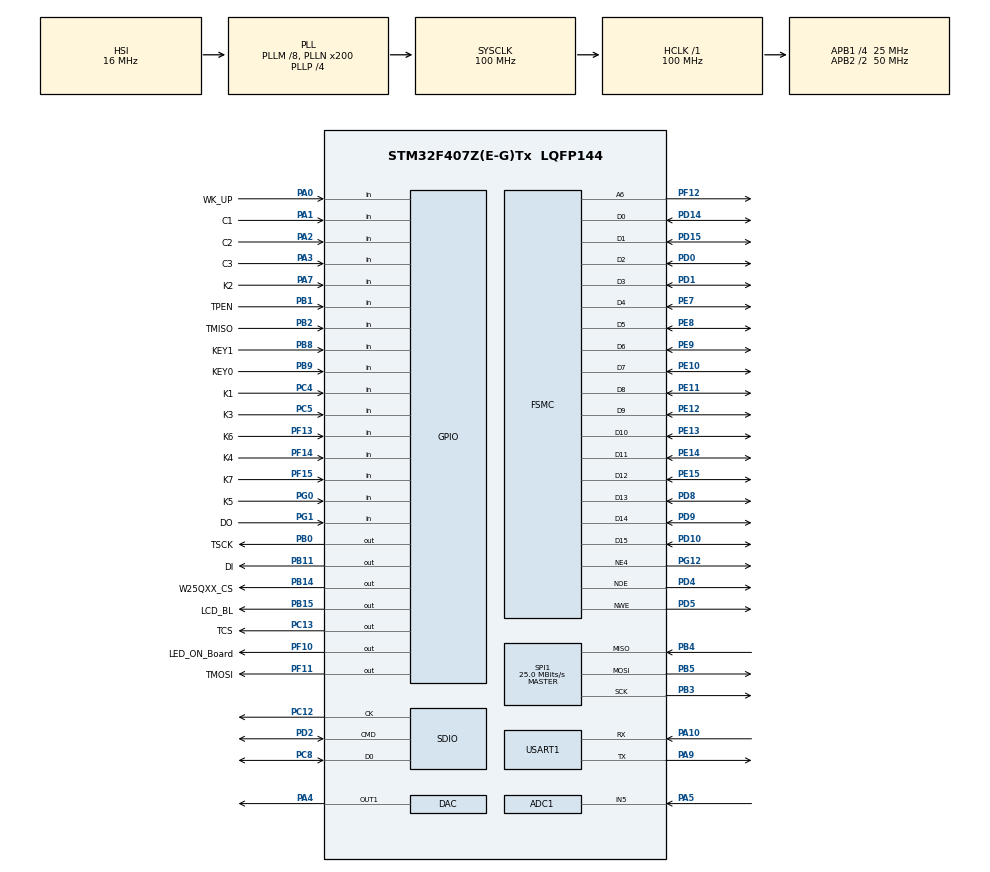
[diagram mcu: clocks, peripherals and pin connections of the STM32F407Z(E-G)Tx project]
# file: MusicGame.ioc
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ADC1.Channel-0\#ChannelRegularConversion=ADC_CHANNEL_5
ADC1.InjNumberOfConversion=0
ADC1.NbrOfConversionFlag=1
ADC1.Rank-0\#ChannelRegularConversion=1
ADC1.SamplingTime-0\#ChannelRegularConversion=ADC_SAMPLETIME_480CYCLES
ADC1.master=1
DAC.DAC_Trigger=DAC_TRIGGER_T2_TRGO
Dma.DAC1.0.Direction=DMA_MEMORY_TO_PERIPH
Dma.DAC1.0.FIFOMode=DMA_FIFOMODE_DISABLE
Dma.DAC1.0.Instance=DMA1_Stream5
Dma.DAC1.0.MemDataAlignment=DMA_MDATAALIGN_HALFWORD
Dma.DAC1.0.MemInc=DMA_MINC_ENABLE
Dma.DAC1.0.Mode=DMA_CIRCULAR
Dma.DAC1.0.PeriphDataAlignment=DMA_PDATAALIGN_HALFWORD
Dma.DAC1.0.PeriphInc=DMA_PINC_DISABLE
Dma.DAC1.0.Priority=DMA_PRIORITY_MEDIUM
Dma.MEMTOMEM.2.Direction=DMA_MEMORY_TO_MEMORY
Dma.MEMTOMEM.2.FIFOMode=DMA_FIFOMODE_ENABLE
Dma.MEMTOMEM.2.FIFOThreshold=DMA_FIFO_THRESHOLD_FULL
Dma.MEMTOMEM.2.Instance=DMA2_Stream6
Dma.MEMTOMEM.2.MemBurst=DMA_MBURST_SINGLE
Dma.MEMTOMEM.2.MemDataAlignment=DMA_MDATAALIGN_HALFWORD
Dma.MEMTOMEM.2.MemInc=DMA_MINC_DISABLE
Dma.MEMTOMEM.2.Mode=DMA_NORMAL
Dma.MEMTOMEM.2.PeriphBurst=DMA_PBURST_SINGLE
Dma.MEMTOMEM.2.PeriphDataAlignment=DMA_PDATAALIGN_HALFWORD
Dma.MEMTOMEM.2.PeriphInc=DMA_PINC_ENABLE
Dma.MEMTOMEM.2.Priority=DMA_PRIORITY_LOW
Dma.Request0=DAC1
Dma.Request1=SDIO
Dma.Request2=MEMTOMEM
Dma.SDIO.1.Direction=DMA_PERIPH_TO_MEMORY
Dma.SDIO.1.FIFOMode=DMA_FIFOMODE_ENABLE
Dma.SDIO.1.FIFOThreshold=DMA_FIFO_THRESHOLD_FULL
Dma.SDIO.1.Instance=DMA2_Stream3
Dma.SDIO.1.MemBurst=DMA_MBURST_INC4
Dma.SDIO.1.MemDataAlignment=DMA_MDATAALIGN_WORD
Dma.SDIO.1.MemInc=DMA_MINC_ENABLE
Dma.SDIO.1.Mode=DMA_PFCTRL
Dma.SDIO.1.PeriphBurst=DMA_PBURST_INC4
Dma.SDIO.1.PeriphDataAlignment=DMA_PDATAALIGN_WORD
Dma.SDIO.1.PeriphInc=DMA_PINC_DISABLE
Dma.SDIO.1.Priority=DMA_PRIORITY_LOW
FATFS._CODE_PAGE=437
FATFS._USE_LFN=2
FREERTOS.BinarySemaphores01=mutex_lvgl,Dynamic,NULL;Semaphore_mp3,Dynamic,NULL;Sem_MP3State,Dynamic,NULL;Sem_Disp,Dynamic,NULL
FREERTOS.Tasks01=defaultTask,0,128,StartDefaultTask,Default,NULL,Dynamic,NULL,NULL;myTask_LED,-3,128,StartTaskLED,Default,NULL,Dynamic,NULL,NULL;myTask_lvgl,-3,2048,StartTask_lvgl,Default,NULL,Dynamic,NULL,NULL;myTask_mp3,-3,512,StartTask_mp3,Default,NULL,Dynamic,NULL,NULL;start_task,-3,512,StartTask,Default,NULL,Dynamic,NULL,NULL
FREERTOS.configUSE_TICK_HOOK=1
FSMC.BusTurnAroundDuration1=0
FSMC.DataSetupTime1=24
FSMC.ExtendedAddressSetupTime1=8
FSMC.ExtendedBusTurnAroundDuration1=0
FSMC.ExtendedDataSetupTime1=8
FSMC.ExtendedMode1=FSMC_EXTENDED_MODE_ENABLE
Mcu.Family=STM32F4
Mcu.Name=STM32F407Z(E-G)Tx
Mcu.Package=LQFP144
NVIC.DMA1_Stream5_IRQn=true\:6\:0\:true\:false\:true\:false\:false\:true\:true
NVIC.DMA2_Stream3_IRQn=true\:6\:0\:true\:false\:true\:true\:false\:true\:true
NVIC.DMA2_Stream6_IRQn=true\:6\:0\:true\:false\:true\:false\:true\:true\:true
NVIC.PriorityGroup=NVIC_PRIORITYGROUP_4
NVIC.SDIO_IRQn=true\:5\:0\:true\:false\:true\:true\:true\:true\:true
NVIC.TIM6_DAC_IRQn=true\:15\:0\:false\:false\:true\:false\:false\:true\:true
NVIC.TimeBase=TIM6_DAC_IRQn
NVIC.TimeBaseIP=TIM6
PA0-WKUP.GPIO_Label=WK_UP
PA0-WKUP.GPIO_PuPd=GPIO_PULLDOWN
PA0-WKUP.Signal=GPIO_Input
PA1.GPIO_Label=C1
PA1.GPIO_PuPd=GPIO_PULLUP
PA1.Signal=GPIO_Input
PA10.Mode=Asynchronous
PA10.Signal=USART1_RX
PA13.Mode=Serial_Wire
PA13.Signal=SYS_JTMS-SWDIO
PA14.Mode=Serial_Wire
PA14.Signal=SYS_JTCK-SWCLK
PA2.GPIO_Label=C2
PA2.GPIO_PuPd=GPIO_PULLUP
PA2.Signal=GPIO_Input
PA3.GPIO_Label=C3
PA3.GPIO_PuPd=GPIO_PULLUP
PA3.Signal=GPIO_Input
PA4.Signal=COMP_DAC1_group
PA5.GPIO_PuPd=GPIO_NOPULL
PA5.Signal=ADCx_IN5
PA7.GPIO_Label=K2
PA7.GPIO_PuPd=GPIO_PULLUP
PA7.Signal=GPIO_Input
PA9.Mode=Asynchronous
PA9.Signal=USART1_TX
PB0.GPIO_Label=TSCK
PB0.GPIO_PuPd=GPIO_NOPULL
PB0.GPIO_Speed=GPIO_SPEED_FREQ_HIGH
PB0.Signal=GPIO_Output
PB1.GPIO_Label=TPEN
PB1.GPIO_PuPd=GPIO_PULLUP
PB1.Signal=GPIO_Input
PB11.GPIO_Label=DI
PB11.Signal=GPIO_Output
PB14.GPIO_Label=W25QXX_CS
PB14.GPIO_PuPd=GPIO_PULLUP
PB14.GPIO_Speed=GPIO_SPEED_FREQ_HIGH
PB14.PinState=GPIO_PIN_SET
PB14.Signal=GPIO_Output
PB15.GPIO_Label=LCD_BL
PB15.GPIO_PuPd=GPIO_PULLUP
PB15.GPIO_Speed=GPIO_SPEED_FREQ_VERY_HIGH
PB15.PinState=GPIO_PIN_SET
PB15.Signal=GPIO_Output
PB2.GPIO_Label=TMISO
PB2.GPIO_PuPd=GPIO_PULLUP
PB2.Signal=GPIO_Input
PB3.Mode=Full_Duplex_Master
PB3.Signal=SPI1_SCK
PB4.Mode=Full_Duplex_Master
PB4.Signal=SPI1_MISO
PB5.Mode=Full_Duplex_Master
PB5.Signal=SPI1_MOSI
PB8.GPIO_Label=KEY1
PB8.GPIO_PuPd=GPIO_PULLUP
PB8.Signal=GPIO_Input
PB9.GPIO_Label=KEY0
PB9.GPIO_PuPd=GPIO_PULLUP
PB9.Signal=GPIO_Input
PC10.GPIO_PuPd=GPIO_PULLUP
PC10.Signal=SDIO_D2
PC11.GPIO_PuPd=GPIO_PULLUP
PC11.Signal=SDIO_D3
PC12.GPIO_PuPd=GPIO_PULLUP
PC12.Mode=SD_1_bit
PC12.Signal=SDIO_CK
PC13-ANTI_TAMP.GPIO_Label=TCS
PC13-ANTI_TAMP.GPIO_Speed=GPIO_SPEED_FREQ_LOW
PC13-ANTI_TAMP.Signal=GPIO_Output
PC4.GPIO_Label=K1
PC4.GPIO_PuPd=GPIO_PULLUP
PC4.Signal=GPIO_Input
PC5.GPIO_Label=K3
PC5.GPIO_PuPd=GPIO_PULLUP
PC5.Signal=GPIO_Input
PC8.GPIO_PuPd=GPIO_PULLUP
PC8.Mode=SD_1_bit
PC8.Signal=SDIO_D0
PC9.GPIO_PuPd=GPIO_PULLUP
PC9.Signal=SDIO_D1
PD0.Signal=FSMC_D2_DA2
PD1.Signal=FSMC_D3_DA3
PD10.Signal=FSMC_D15_DA15
PD14.Signal=FSMC_D0_DA0
PD15.Signal=FSMC_D1_DA1
PD2.GPIO_PuPd=GPIO_PULLUP
PD2.Mode=SD_1_bit
PD2.Signal=SDIO_CMD
PD4.Signal=FSMC_NOE
PD5.Signal=FSMC_NWE
PD8.Signal=FSMC_D13_DA13
PD9.Signal=FSMC_D14_DA14
PE10.Signal=FSMC_D7_DA7
PE11.Signal=FSMC_D8_DA8
PE12.Signal=FSMC_D9_DA9
PE13.Signal=FSMC_D10_DA10
PE14.Signal=FSMC_D11_DA11
PE15.Signal=FSMC_D12_DA12
PE7.Signal=FSMC_D4_DA4
PE8.Signal=FSMC_D5_DA5
PE9.Signal=FSMC_D6_DA6
PF10.GPIO_Label=LED_ON_Board
PF10.PinState=GPIO_PIN_SET
PF10.Signal=GPIO_Output
PF11.GPIO_Label=TMOSI
PF11.GPIO_Speed=GPIO_SPEED_FREQ_HIGH
PF11.Signal=GPIO_Output
PF12.Signal=FSMC_A6
PF13.GPIO_Label=K6
PF13.GPIO_PuPd=GPIO_PULLUP
PF13.Signal=GPIO_Input
PF14.GPIO_Label=K4
PF14.GPIO_PuPd=GPIO_PULLUP
PF14.Signal=GPIO_Input
PF15.GPIO_Label=K7
PF15.GPIO_PuPd=GPIO_PULLUP
PF15.Signal=GPIO_Input
PG0.GPIO_Label=K5
PG0.GPIO_PuPd=GPIO_PULLUP
PG0.Signal=GPIO_Input
PG1.GPIO_Label=DO
PG1.Signal=GPIO_Input
PG12.Mode=NorPsramChipSelect4_1
PG12.Signal=FSMC_NE4
PH0-OSC_IN.Mode=HSE-External-Oscillator
PH0-OSC_IN.Signal=RCC_OSC_IN
PH1-OSC_OUT.Mode=HSE-External-Oscillator
PH1-OSC_OUT.Signal=RCC_OSC_OUT
ProjectManager.HeapSize=0x500
ProjectManager.StackSize=0x500
ProjectManager.TargetToolchain=MDK-ARM V5.27
RCC.48MHZClocksFreq_Value=44444444.44444445
RCC.AHBFreq_Value=100000000
RCC.APB1CLKDivider=RCC_HCLK_DIV4
RCC.APB1Freq_Value=25000000
RCC.APB1TimFreq_Value=50000000
RCC.APB2CLKDivider=RCC_HCLK_DIV2
RCC.APB2Freq_Value=50000000
RCC.APB2TimFreq_Value=100000000
RCC.CortexFreq_Value=100000000
RCC.HCLKFreq_Value=100000000
RCC.HSE_VALUE=8000000
RCC.HSI_VALUE=16000000
RCC.LSE_VALUE=32768
RCC.PLLM=8
RCC.PLLN=200
RCC.PLLP=RCC_PLLP_DIV4
RCC.PLLQ=9
RCC.SYSCLKFreq_VALUE=100000000
RCC.SYSCLKSource=RCC_SYSCLKSOURCE_PLLCLK
RCC.VCOOutputFreq_Value=400000000
SDIO.ClockDiv=0
SH.ADCx_IN5.0=ADC1_IN5,IN5
SH.COMP_DAC1_group.0=DAC_OUT1,DAC_OUT1
SH.FSMC_A6.0=FSMC_A6,A6_1
SH.FSMC_D0_DA0.0=FSMC_D0,16b-d1
SH.FSMC_D10_DA10.0=FSMC_D10,16b-d1
SH.FSMC_D11_DA11.0=FSMC_D11,16b-d1
SH.FSMC_D12_DA12.0=FSMC_D12,16b-d1
SH.FSMC_D13_DA13.0=FSMC_D13,16b-d1
SH.FSMC_D14_DA14.0=FSMC_D14,16b-d1
SH.FSMC_D15_DA15.0=FSMC_D15,16b-d1
SH.FSMC_D1_DA1.0=FSMC_D1,16b-d1
SH.FSMC_D2_DA2.0=FSMC_D2,16b-d1
SH.FSMC_D3_DA3.0=FSMC_D3,16b-d1
SH.FSMC_D4_DA4.0=FSMC_D4,16b-d1
SH.FSMC_D5_DA5.0=FSMC_D5,16b-d1
SH.FSMC_D6_DA6.0=FSMC_D6,16b-d1
SH.FSMC_D7_DA7.0=FSMC_D7,16b-d1
SH.FSMC_D8_DA8.0=FSMC_D8,16b-d1
SH.FSMC_D9_DA9.0=FSMC_D9,16b-d1
SH.FSMC_NOE.0=FSMC_NOE,Lcd1
SH.FSMC_NWE.0=FSMC_NWE,Lcd1
SPI1.BaudRatePrescaler=SPI_BAUDRATEPRESCALER_2
SPI1.CLKPhase=SPI_PHASE_2EDGE
SPI1.CLKPolarity=SPI_POLARITY_HIGH
SPI1.CRCCalculation=SPI_CRCCALCULATION_DISABLE
SPI1.CalculateBaudRate=25.0 MBits/s
SPI1.Direction=SPI_DIRECTION_2LINES
SPI1.Mode=SPI_MODE_MASTER
SPI1.VirtualType=VM_MASTER
TIM1.AutoReloadPreload=TIM_AUTORELOAD_PRELOAD_ENABLE
TIM1.Period=4999
TIM1.Prescaler=83
TIM2.AutoReloadPreload=TIM_AUTORELOAD_PRELOAD_ENABLE
TIM2.Period=49
TIM2.TIM_MasterOutputTrigger=TIM_TRGO_UPDATE
USART1.VirtualMode=VM_ASYNC
VP_FATFS_VS_SDIO.Mode=SDIO
VP_FREERTOS_VS_CMSIS_V1.Mode=CMSIS_V1
VP_SYS_VS_tim6.Mode=TIM6
VP_TIM1_VS_ClockSourceINT.Mode=Internal
VP_TIM2_VS_ClockSourceINT.Mode=Internal
board=custom

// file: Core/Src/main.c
/* USER CODE BEGIN Header */
/**
  ******************************************************************************
  * @file           : main.c
  * @brief          : Main program body
  ******************************************************************************
  * @attention
  *
  * Copyright (c) 2024 STMicroelectronics.
  * All rights reserved.
  *
  * This software is licensed under terms that can be found in the LICENSE file
  * in the root directory of this software component.
  * If no LICENSE file comes with this software, it is provided AS-IS.
  *
  ******************************************************************************
  */
/* USER CODE END Header */
#include "main.h"
#include "cmsis_os.h"
#include "adc.h"
#include "dac.h"
#include "dma.h"
#include "fatfs.h"
#include "sdio.h"
#include "spi.h"
#include "tim.h"
#include "usart.h"
#include "gpio.h"
#include "fsmc.h"

/* USER CODE BEGIN Includes */
#include "delay.h"
#include "lcd.h"
#include "w25qxx.h"
#include "touch.h"
#include "GBK_LibDrive.h"
#include "lv_port_disp.h"
#include "lvgl.h"
#include "lv_port_indev.h"
#include "lv_port_fs.h"
#include "stdio.h"
#include "ctype.h"
#include "string.h"
#include "key.h"
#include "mp3Player.h"
//#include "lv_demo_music.h"
/* USER CODE END Includes */

/* USER CODE BEGIN PD */
//sd
#define BLOCK_START_ADDR 0 /* Block start address */
#define NUM_OF_BLOCKS 1 /* Total number of blocks */
#define BUFFER_WORDS_SIZE ((BLOCKSIZE * NUM_OF_BLOCKS) >> 2) /* Total data size in bytes */
uint8_t Buffer_Tx[512],Buffer_Rx[512] = {
   0};
uint32_t i;
HAL_StatusTypeDef Return_Status;
//extern DMA_HandleTypeDef hdma_sdio;
//HAL_StatusTypeDef SDIO_ReadBlocks_DMA(SD_HandleTypeDef *hsd, uint8_t *pData, uint32_t BlockAdd, uint32_t NumberOfBlocks);
//HAL_StatusTypeDef SDIO_WriteBlocks_DMA(SD_HandleTypeDef *hsd, uint8_t *pData, uint32_t BlockAdd, uint32_t NumberOfBlocks);

//fs
FIL file;
UINT br,bw;
uint16_t rBuffer[20];      //将SD卡的数据，读入到缓存区
uint16_t WBuffer[20] ={1,2,3,4,5,6,7,8,9,10,11,12,13,14,15,16,17,18,19,20};

/* USER CODE END PD */

void SystemClock_Config(void);
void MX_FREERTOS_Init(void);

/* USER CODE BEGIN 0 */
//清空屏幕并在右上角显示"RST"
void Load_Drow_Dialog(void)
{
	GBK_LibFont_Test();//字库显示测试
//	LCD_Clear(WHITE);	//清屏
 	POINT_COLOR=RED;	//设置字体为蓝色
	LCD_ShowString(lcddev.width-24,0,200,16,16,RED,"RST");//显示清屏区域
  POINT_COLOR=RED;	//设置画笔蓝色

}

void rtp_test(void)
{
//	u8 key;
//	u8 i=0;
	while(1)
	{

	 	//key=KEY_Scan(0);

		tp_dev.scan(0);

		if(tp_dev.sta&TP_PRES_DOWN)			//触摸屏被按下
		{
		 	if(tp_dev.x[0]<lcddev.width&&tp_dev.y[0]<lcddev.height)
			{
				if(tp_dev.x[0]>(lcddev.width-24)&&tp_dev.y[0]<16)
					Load_Drow_Dialog();//清除
				else
					TP_Draw_Big_Point(tp_dev.x[0],tp_dev.y[0],RED);		//画图
			}
		}
		else delay_ms(10);	//没有按键按下的时候

//		if(key==KEY0_PRES)	//KEY0按下,则执行校准程序
//		{
//			LCD_Clear(WHITE);  //清屏
//		  TP_Adjust();  	   //屏幕校准
//			Load_Drow_Dialog();
//		}

//		i++;
//		if(i%20==0)
//		{
//		  LED1=!LED1;//LED灯闪，指示系统在运行
//		}

	}
}

void my_tptest(){
		LCD_ShowString(16,20,200,16,16,RED,"mcudev STM32F4");
	LCD_ShowString(16,40,200,16,16,RED,"TOUCH TEST");
	LCD_ShowString(16,60,200,16,16,RED,"mcudev.taobao.com");
	LCD_ShowString(16,80,200,16,16,RED,"2019/1/15");

//	LCD_ShowString(30,100,200,16,16,RED,"Press KEY0 to Adjust");

  //使用有字库屏幕，可以进行下面显示

	GBK_Show_Str(16,120,240,32,"字库测试-32",32,BLUE,WHITE,0);
	GBK_Show_Str(16,160,240,24,"2.8/3.2寸液晶屏-24",24,BLUE,WHITE,0);
	GBK_Show_Str(16,190,240,16,"设计：大越电子-16",16,BLUE,WHITE,0);
	GBK_Show_Str(16,210,240,12,"From: mcudev.taobao.com-12",12,BLUE,WHITE,0);

	LCD_ShowString(16,230,240,16,16,RED,"Press KEY0 to Adjust");//电阻屏才显示

	delay_ms(1500);
 	Load_Drow_Dialog();

	rtp_test(); 					//电阻屏测试
}

void SD_test(void){
	printf("Micro SD Card Test...\r\n");
		/* 棿测SD卡是否正常（处于数据传输模式的传输状态） */
		if(HAL_SD_GetCardState(&hsd) == HAL_SD_CARD_TRANSFER)
		{

		printf("Initialize SD card successfully!\r\n");
		// 打印SD卡基本信恿
		printf(" SD card information! \r\n");
		printf(" CardCapacity : %llu \r\n", (unsigned long long)hsd.SdCard.BlockSize * hsd.SdCard.BlockNbr);// 显示容量
		printf(" CardBlockSize : %d \r\n", hsd.SdCard.BlockSize);   // 块大尿
		printf(" LogBlockNbr : %d \r\n", hsd.SdCard.LogBlockNbr);	// 逻辑块数釿
		printf(" LogBlockSize : %d \r\n", hsd.SdCard.LogBlockSize);// 逻辑块大尿
		printf(" RCA : %d \r\n", hsd.SdCard.RelCardAdd);  // 卡相对地坿
		printf(" CardType : %d \r\n", hsd.SdCard.CardType);    // 卡类垿
		// 读取并打印SD卡的CID信息
		HAL_SD_CardCIDTypeDef sdcard_cid;
		HAL_SD_GetCardCID(&hsd,&sdcard_cid);
		printf(" ManufacturerID: %d \r\n",sdcard_cid.ManufacturerID);
		}
		else
		{

		printf("SD card init fail!\r\n" );
		}
#if 0
		/* 擦除SD卡块 */
		printf("------------------- Block Erase -------------------------------\r\n");
		if(HAL_SD_Erase(&hsd, BLOCK_START_ADDR, NUM_OF_BLOCKS) == HAL_OK)
		{

		/* Wait until SD cards are ready to use for new operation */
		while(HAL_SD_GetCardState(&hsd) != HAL_SD_CARD_TRANSFER)
		{

		}
		printf("\r\nErase Block Success!\r\n");
		}
		else
		{

		printf("\r\nErase Block Failed!\r\n");
		}
#endif
#if 0
		/* 填充缓冲区数捿 */
		memset(Buffer_Tx, 0x22, sizeof(Buffer_Tx));
		/* 向SD卡块写入数据 */
		printf("------------------- Write SD card block data Test ------------------\r\n");
		SDIO_WriteBlocks_DMA(&hsd,Buffer_Tx, BLOCK_START_ADDR, NUM_OF_BLOCKS);
		printf("write status :%d\r\n",Return_Status);
		/* 读取SD卡块数据 */
		Return_Status=SDIO_ReadBlocks_DMA(&hsd,Buffer_Rx, BLOCK_START_ADDR, NUM_OF_BLOCKS);
		printf("read status :%d\r\n",Return_Status);
		for(i = 0; i < sizeof(Buffer_Rx); i++)
		{

		printf("0x%02x:%02x ", i, Buffer_Rx[i]);
		}
#endif
}

void fs_test(void){
	#if 1  //挂载系统
  retSD = f_mount(&SDFatFS,"0:",1);
	switch(retSD)
	{
		case FR_NO_FILESYSTEM :   //如果没有文件系统，则进行格式化
		{
			retSD = f_mkfs("0:",0,0,rBuffer,sizeof(rBuffer));
			if(retSD != FR_OK )   //如果格式化不成功，报错
			{
				printf("mkfs error %d\r\n",retSD);
			}
		}
		break;
		case FR_OK :
		{
			printf("mount successful\r\n");
#if 1 //创建文件并写数据
			retSD = f_open(&file,"0:State.txt",FA_CREATE_ALWAYS | FA_WRITE);  //判断创建或打开文件是否成功
			if(retSD == FR_OK)
			{
				printf("open successful\r\n");
				//retSD = f_write(&file,(const void *)State,sizeof(WBuffer),&bw);
				retSD = f_write(&file,(uint8_t *)WBuffer,sizeof(WBuffer),&bw);
				if(retSD == FR_OK)  //判断写入数据是否成功
				{
					printf("write successful\r\n");
					f_close(&file);   //关闭文件
				}
				else
				{
					printf("write error %d\r\n",retSD);
				}
			}
			else
			{
				printf("open error %d\r\n",retSD);
			}
#endif
		}
		break;
		default :
			printf("other error %d\r\n",retSD);
		break;
	}
#if 0   //移位读取SD卡数据
	retSD = f_open(&file,"0:Temperature_Probe_1.txt",FA_OPEN_EXISTING | FA_READ);
	if(retSD == FR_OK)
	{
		printf("open successful\r\n");
		retSD =  f_lseek(&file,f_tell(&file)+ 4); //这个函数用于移位，f_tell函数是获取文件首地址的函数
		if(retSD == FR_OK)
		{
			retSD = f_read(&file,(void *)rBuffer,6,&br);
			if(retSD == FR_OK)  //判断读取文件操作是否成功
			{
				printf("read successful\r\n");
				uint8_t j = 0;
				for(uint16_t i = 0;i < 2000;i++)  //次for循环用于将读到的数据打印到电脑
				{
					j++;
					printf("%d ",rBuffer[i]);
					if(j == 10)
					{
						printf("\r\n");
						j = 0;
					}
				}
				f_close(&file);
			}
		}
		else
		{
			printf("open error %d\r\n",retSD);
		}
	}
#endif
#if 1  //读取SD卡中数据
	retSD = f_open(&file,"0:State.txt",FA_OPEN_EXISTING | FA_READ);
	if(retSD == FR_OK)
	{
		printf("open successful\r\n");
		retSD = f_read(&file,(uint8_t *)rBuffer,sizeof(rBuffer),&br);
		if(retSD == FR_OK)
		{
			printf("read successful\r\n");
			uint8_t j = 0;
			for(uint16_t i = 0;i < 20;i++)
			{
				j++;
				printf("%d ",rBuffer[i]);
				if(j == 10)
				{
					printf("\r\n");
					j = 0;
				}
			}
			f_close(&file);
		}
		else
		{
			printf("read error %d\r\n",retSD);
		}
	}
	else
	{
		printf("open error %d\r\n",retSD);
	}
#endif
#endif

}

void W25QXX_test(void){
	POINT_COLOR=RED;

	while(W25QXX_ReadID()!=W25Q16)								//检测不到W25QXX
	{
		LCD_ShowString(30,150,200,16,16,RED,"W25Q16 Check Failed!");
		delay_ms(500);
		LCD_ShowString(30,150,200,16,16,RED,"Please Check!      ");
		delay_ms(500);
		HAL_GPIO_TogglePin(LED_ON_Board_GPIO_Port,LED_ON_Board_Pin);
	}
	LCD_ShowString(30,150,200,16,16,RED,"W25Q16 Ready!");
}

static lv_obj_t * label;

static void slider_event_cb(lv_event_t * e)
{
    lv_obj_t * slider = lv_event_get_target(e);

    /*Refresh the text*/
    lv_label_set_text_fmt(label, "%"LV_PRId32, lv_slider_get_value(slider));
    lv_obj_align_to(label, slider, LV_ALIGN_OUT_TOP_MID, 0, -15);    /*Align top of the slider*/
}

/**
 * Create a slider and write its value on a label.
 */
void lv_example_get_started_1(void)
{
    /*Create a slider in the center of the display*/
    lv_obj_t * slider = lv_slider_create(lv_screen_active());
    lv_obj_set_width(slider, 200);                          /*Set the width*/
    lv_obj_center(slider);                                  /*Align to the center of the parent (screen)*/
    lv_obj_add_event_cb(slider, slider_event_cb, LV_EVENT_VALUE_CHANGED, NULL);     /*Assign an event function*/

    /*Create a label above the slider*/
    label = lv_label_create(lv_screen_active());
    lv_label_set_text(label, "0");
    lv_obj_align_to(label, slider, LV_ALIGN_OUT_TOP_MID, 0, -15);    /*Align top of the slider*/

}

void adda_test(void){
	u16 adcx;
	float temp;
 	u8 t=0;
	u16 dacval=0;
	u8 key;

	while(1)
	{
		t++;
		key=KEY_Scan(0);
		if(key==WKUP_PRES)
		{
			if(dacval<4000)dacval+=200;
			HAL_DAC_SetValue(&hdac,DAC_CHANNEL_1,DAC_ALIGN_12B_R,dacval);//设置DAC值
		}else if(key==2)
		{
			if(dacval>200)dacval-=200;
			else dacval=0;
			HAL_DAC_SetValue(&hdac,DAC_CHANNEL_1,DAC_ALIGN_12B_R,dacval);//设置DAC值
		}
		if(t==10||key==KEY1_PRES||key==WKUP_PRES) 	//WKUP/KEY1按下了,或者定时时间到了
		{
			adcx = HAL_DAC_GetValue(&hdac,DAC_CHANNEL_1);
			LCD_ShowxNum(94,150,adcx,4,16,BLUE,0);     	   //显示DAC寄存器值
			temp=(float)adcx*(3.3/4096);			         //得到DAC电压值
			adcx=temp;
 			LCD_ShowxNum(94,170,temp,1,16,BLUE,0);     	   //显示电压值整数部分
 			temp-=adcx;
			temp*=1000;
			LCD_ShowxNum(110,170,temp,3,16,BLUE,0X80); 	   //显示电压值的小数部分
 			adcx=Get_Adc_Average(10);		//得到ADC转换值
			temp=(float)adcx*(3.3/4096);			        //得到ADC电压值
			adcx=temp;
 			LCD_ShowxNum(94,190,temp,1,16,BLUE,0);     	  //显示电压值整数部分
 			temp-=adcx;
			temp*=1000;
			LCD_ShowxNum(110,190,temp,3,16,BLUE,0X80); 	  //显示电压值的小数部分
			//LED1=!LED1;
			t=0;
		}
		delay_ms(10);
	}
}

void dac_test_dma(void){
	u16 adcx;
	float temp;
 	u8 t=0;
	volatile u32 dacval=1;
	u8 key;
	bool buf_len=0;
	DAC_DMA_Start(1,210);
	while(1){
		t++;
		key=KEY_Scan(0);
		if(key==WKUP_PRES)
		{
			dacval+=1;
			DAC_DMA_Start(dacval,210);
		}else if(key==2)
		{
			if(dacval>1)dacval-=1;
			else dacval=1;
			DAC_DMA_Start(dacval,210);
		}
		else if(key==1)
		{
			if (buf_len==0){
				DAC_DMA_Start(dacval,20);
				buf_len=1;
			}else {
				DAC_DMA_Start(dacval,210);
				buf_len=0;
			}
		}
		if(t==10||key==KEY1_PRES||key==WKUP_PRES||KEY0_PRES) 	//WKUP/KEY1按下了,或者定时时间到了
		{
				adcx = HAL_DAC_GetValue(&hdac,DAC_CHANNEL_1);
				LCD_ShowxNum(94,150,adcx,4,16,BLUE,0);     	   //显示DAC寄存器值
				temp=(float)adcx*(3.3/4096);			         //得到DAC电压值
				adcx=temp;
				LCD_ShowxNum(94,170,temp,1,16,BLUE,0);     	   //显示电压值整数部分
				temp-=adcx;
				temp*=1000;
				LCD_ShowxNum(110,170,temp,3,16,BLUE,0X80); 	   //显示电压值的小数部分
				adcx=Get_Adc_Average(10);		//得到ADC转换值
				temp=(float)adcx*(3.3/4096);			        //得到ADC电压值
				adcx=temp;
				LCD_ShowxNum(94,190,temp,1,16,BLUE,0);     	  //显示电压值整数部分
				temp-=adcx;
				temp*=1000;
				LCD_ShowxNum(110,190,temp,3,16,BLUE,0X80); 	  //显示电压值的小数部分
		}
	}
}

FILINFO fileinfo;	//文件信息
DIR dir;  			//目录
//遍历目录文件并打印输出
u8 scan_files(u8 * path)
{
	FRESULT res;
	char buf[512] = {0};
  char *fn;

#if _USE_LFN
 	fileinfo.fsize = _MAX_LFN * 2 + 1;
	//fileinfo.fname = buf;
#endif

	res = f_opendir(&dir,(const TCHAR*)path);
	if (res == FR_OK)
	{
		printf("\r\n");

		while(1){

			res = f_readdir(&dir, &fileinfo);
			if (res != FR_OK || fileinfo.fname[0] == 0) break;

#if _USE_LFN
			//fn = *fileinfo.lfname ? fileinfo.lfname : fileinfo.fname;
#else
			fn = fileinfo.fname;
#endif

			printf("%s/", path);
			printf("%s\r\n", fileinfo.fname);
		}
  }

  return res;
}

//test debug
static lv_obj_t * list1;
static lv_obj_t * list2;

static lv_obj_t * currentButton = NULL;

static void event_handler(lv_event_t * e)
{
    lv_event_code_t code = lv_event_get_code(e);
    lv_obj_t * obj = lv_event_get_target(e);
    if(code == LV_EVENT_CLICKED) {
        LV_LOG_USER("Clicked: %s", lv_list_get_button_text(list1, obj));

        if(currentButton == obj) {
            currentButton = NULL;
        }
        else {
            currentButton = obj;
        }
        lv_obj_t * parent = lv_obj_get_parent(obj);
        uint32_t i;
        for(i = 0; i < lv_obj_get_child_count(parent); i++) {
            lv_obj_t * child = lv_obj_get_child(parent, i);
            if(child == currentButton) {
                lv_obj_add_state(child, LV_STATE_CHECKED);
            }
            else {
                lv_obj_remove_state(child, LV_STATE_CHECKED);
            }
        }
    }
}

static void event_handler_top(lv_event_t * e)
{
    lv_event_code_t code = lv_event_get_code(e);
    if(code == LV_EVENT_CLICKED) {
        if(currentButton == NULL) return;
        lv_obj_move_background(currentButton);
        lv_obj_scroll_to_view(currentButton, LV_ANIM_ON);
    }
}

static void event_handler_up(lv_event_t * e)
{
    lv_event_code_t code = lv_event_get_code(e);
    if((code == LV_EVENT_CLICKED) || (code == LV_EVENT_LONG_PRESSED_REPEAT)) {
        if(currentButton == NULL) return;
        uint32_t index = lv_obj_get_index(currentButton);
        if(index <= 0) return;
        lv_obj_move_to_index(currentButton, index - 1);
        lv_obj_scroll_to_view(currentButton, LV_ANIM_ON);
    }
}

static void event_handler_center(lv_event_t * e)
{
    const lv_event_code_t code = lv_event_get_code(e);
    if((code == LV_EVENT_CLICKED) || (code == LV_EVENT_LONG_PRESSED_REPEAT)) {
        if(currentButton == NULL) return;

        lv_obj_t * parent = lv_obj_get_parent(currentButton);
        const uint32_t pos = lv_obj_get_child_count(parent) / 2;

        lv_obj_move_to_index(currentButton, pos);

        lv_obj_scroll_to_view(currentButton, LV_ANIM_ON);
    }
}

static void event_handler_dn(lv_event_t * e)
{
    const lv_event_code_t code = lv_event_get_code(e);
    if((code == LV_EVENT_CLICKED) || (code == LV_EVENT_LONG_PRESSED_REPEAT)) {
        if(currentButton == NULL) return;
        const uint32_t index = lv_obj_get_index(currentButton);

        lv_obj_move_to_index(currentButton, index + 1);
        lv_obj_scroll_to_view(currentButton, LV_ANIM_ON);
    }
}

static void event_handler_bottom(lv_event_t * e)
{
    const lv_event_code_t code = lv_event_get_code(e);
    if(code == LV_EVENT_CLICKED) {
        if(currentButton == NULL) return;
        lv_obj_move_foreground(currentButton);
        lv_obj_scroll_to_view(currentButton, LV_ANIM_ON);
    }
}

static void event_handler_swap(lv_event_t * e)
{
    const lv_event_code_t code = lv_event_get_code(e);
    // lv_obj_t* obj = lv_event_get_target(e);
    if((code == LV_EVENT_CLICKED) || (code == LV_EVENT_LONG_PRESSED_REPEAT)) {
        uint32_t cnt = lv_obj_get_child_count(list1);
        for(int i = 0; i < 100; i++)
            if(cnt > 1) {
                lv_obj_t * obj = lv_obj_get_child(list1, lv_rand(0, cnt));
                lv_obj_move_to_index(obj, lv_rand(0, cnt));
                if(currentButton != NULL) {
                    lv_obj_scroll_to_view(currentButton, LV_ANIM_ON);
                }
            }
    }
}

void lv_example_list_2(void)
{
    /*Create a list*/
    list1 = lv_list_create(lv_screen_active());
    lv_obj_set_size(list1, lv_pct(60), lv_pct(100));
    lv_obj_set_style_pad_row(list1, 5, 0);

    /*Add buttons to the list*/
    lv_obj_t * btn;
    int i;
    for(i = 0; i < 15; i++) {
        btn = lv_button_create(list1);
        lv_obj_set_width(btn, lv_pct(50));
        lv_obj_add_event_cb(btn, event_handler, LV_EVENT_CLICKED, NULL);

        lv_obj_t * lab = lv_label_create(btn);
        lv_label_set_text_fmt(lab, "Item %d", i);
    }

    /*Select the first button by default*/
    currentButton = lv_obj_get_child(list1, 0);
    lv_obj_add_state(currentButton, LV_STATE_CHECKED);

    /*Create a second list with up and down buttons*/
    list2 = lv_list_create(lv_screen_active());
    lv_obj_set_size(list2, lv_pct(40), lv_pct(100));
    lv_obj_align(list2, LV_ALIGN_TOP_RIGHT, 0, 0);
    lv_obj_set_flex_flow(list2, LV_FLEX_FLOW_COLUMN);

    btn = lv_list_add_button(list2, NULL, "Top");
    lv_obj_add_event_cb(btn, event_handler_top, LV_EVENT_ALL, NULL);
    lv_group_remove_obj(btn);

    btn = lv_list_add_button(list2, LV_SYMBOL_UP, "Up");
    lv_obj_add_event_cb(btn, event_handler_up, LV_EVENT_ALL, NULL);
    lv_group_remove_obj(btn);

    btn = lv_list_add_button(list2, LV_SYMBOL_LEFT, "Center");
    lv_obj_add_event_cb(btn, event_handler_center, LV_EVENT_ALL, NULL);
    lv_group_remove_obj(btn);

    btn = lv_list_add_button(list2, LV_SYMBOL_DOWN, "Down");
    lv_obj_add_event_cb(btn, event_handler_dn, LV_EVENT_ALL, NULL);
    lv_group_remove_obj(btn);

    btn = lv_list_add_button(list2, NULL, "Bottom");
    lv_obj_add_event_cb(btn, event_handler_bottom, LV_EVENT_ALL, NULL);
    lv_group_remove_obj(btn);

    btn = lv_list_add_button(list2, LV_SYMBOL_SHUFFLE, "Shuffle");
    lv_obj_add_event_cb(btn, event_handler_swap, LV_EVENT_ALL, NULL);
    lv_group_remove_obj(btn);
}

void game_UI(void);
void lv_music_UI(void);
void game(void);
/* USER CODE END 0 */

int main(void)
{

  /* MCU Configuration--------------------------------------------------------*/

  /* Reset of all peripherals, Initializes the Flash interface and the Systick. */
  HAL_Init();

  /* Configure the system clock */
  SystemClock_Config();

  /* Initialize all configured peripherals */
  MX_GPIO_Init();
  MX_DMA_Init();
  MX_USART1_UART_Init();
  MX_FSMC_Init();
  MX_SPI1_Init();
  MX_TIM1_Init();
  MX_SDIO_SD_Init();
  MX_FATFS_Init();
  MX_ADC1_Init();
  MX_DAC_Init();
  MX_TIM2_Init();
  /* USER CODE BEGIN 2 */

//	SD_test();
//	fs_test();
	delay_init();
	LCD_Init();
	W25QXX_Init();			//W25QXX初始化
	W25QXX_test();

	// GBK_Lib_Init();       //硬件GBK字库初始化--(如果使用不带字库的液晶屏版本，此处可以屏蔽，不做字库初始化）

	tp_dev.init();				//触摸屏初始化

	LCD_Clear(WHITE);//清除屏幕

	//rtp_test();

	//lvgl
	//HAL_TIM_Base_Start_IT(&htim1);
	lv_init();
	lv_port_disp_init();
	lv_port_indev_init();
	 //lv_example_get_started_1();
    //   my_piano();
    // lv_example_list_2();
	 // game();

	HAL_TIM_Base_Start(&htim2);

////	//MP3
	//scan_files("0:");
//

	//dac_test_dma();
//	while (1)
//	{
		//mp3PlayerDemo("0:/断桥残雪.MP3");
//		//mp3PlayerDemo("0:/张国荣-玻璃之情.MP3");
//	}

  /* USER CODE END 2 */

  /* Call init function for freertos objects (in cmsis_os2.c) */
  MX_FREERTOS_Init();

  /* Start scheduler */
  osKernelStart();

  /* We should never get here as control is now taken by the scheduler */

  /* Infinite loop */
  while (1)
  {

    /* USER CODE BEGIN 3 */

//		delay_ms(1000);
//
//		HAL_GPIO_TogglePin(LED_ON_Board_GPIO_Port,LED_ON_Board_Pin);

		lv_timer_handler();
    HAL_Delay(1);
		//HAL_GPIO_TogglePin(LED_ON_Board_GPIO_Port,LED_ON_Board_Pin);
  }
  /* USER CODE END 3 */
}

void SystemClock_Config(void)
{
  RCC_OscInitTypeDef RCC_OscInitStruct = {0};
  RCC_ClkInitTypeDef RCC_ClkInitStruct = {0};

  /** Configure the main internal regulator output voltage
  */
  __HAL_RCC_PWR_CLK_ENABLE();
  __HAL_PWR_VOLTAGESCALING_CONFIG(PWR_REGULATOR_VOLTAGE_SCALE1);

  /** Initializes the RCC Oscillators according to the specified parameters
  * in the RCC_OscInitTypeDef structure.
  */
  RCC_OscInitStruct.OscillatorType = RCC_OSCILLATORTYPE_HSI;
  RCC_OscInitStruct.HSIState = RCC_HSI_ON;
  RCC_OscInitStruct.HSICalibrationValue = RCC_HSICALIBRATION_DEFAULT;
  RCC_OscInitStruct.PLL.PLLState = RCC_PLL_ON;
  RCC_OscInitStruct.PLL.PLLSource = RCC_PLLSOURCE_HSI;
  RCC_OscInitStruct.PLL.PLLM = 8;
  RCC_OscInitStruct.PLL.PLLN = 200;
  RCC_OscInitStruct.PLL.PLLP = RCC_PLLP_DIV4;
  RCC_OscInitStruct.PLL.PLLQ = 9;
  if (HAL_RCC_OscConfig(&RCC_OscInitStruct) != HAL_OK)
  {
    Error_Handler();
  }

  /** Initializes the CPU, AHB and APB buses clocks
  */
  RCC_ClkInitStruct.ClockType = RCC_CLOCKTYPE_HCLK|RCC_CLOCKTYPE_SYSCLK
                              |RCC_CLOCKTYPE_PCLK1|RCC_CLOCKTYPE_PCLK2;
  RCC_ClkInitStruct.SYSCLKSource = RCC_SYSCLKSOURCE_PLLCLK;
  RCC_ClkInitStruct.AHBCLKDivider = RCC_SYSCLK_DIV1;
  RCC_ClkInitStruct.APB1CLKDivider = RCC_HCLK_DIV4;
  RCC_ClkInitStruct.APB2CLKDivider = RCC_HCLK_DIV2;

  if (HAL_RCC_ClockConfig(&RCC_ClkInitStruct, FLASH_LATENCY_3) != HAL_OK)
  {
    Error_Handler();
  }
}

/* USER CODE BEGIN 4 */

//HAL_StatusTypeDef SDIO_ReadBlocks_DMA(SD_HandleTypeDef *hsd, uint8_t *pData, uint32_t BlockAdd, uint32_t NumberOfBlocks)
//{

//HAL_StatusTypeDef Return_Status;
//HAL_SD_CardStateTypeDef SD_Card_Status;
//do
//{

//SD_Card_Status = HAL_SD_GetCardState(hsd);
//}while(SD_Card_Status != HAL_SD_CARD_TRANSFER );
///* SDIO DMA DeInit */
///* SDIO DeInit */
//HAL_DMA_DeInit(&hdma_sdio);
///* SDIO DMA Init */
///* SDIO Init */
//hdma_sdio.Instance = DMA2_Stream3;
//hdma_sdio.Init.Direction = DMA_PERIPH_TO_MEMORY;
//hdma_sdio.Init.PeriphInc = DMA_PINC_DISABLE;
//hdma_sdio.Init.MemInc = DMA_MINC_ENABLE;
//hdma_sdio.Init.PeriphDataAlignment = DMA_PDATAALIGN_WORD;
//hdma_sdio.Init.MemDataAlignment = DMA_MDATAALIGN_WORD;
//hdma_sdio.Init.Mode = DMA_NORMAL;
//hdma_sdio.Init.Priority = DMA_PRIORITY_LOW;
//if (HAL_DMA_Init(&hdma_sdio) != HAL_OK)
//{

//Error_Handler();
//}
//__HAL_LINKDMA( hsd,hdmarx,hdma_sdio);
//Return_Status = HAL_SD_ReadBlocks_DMA( hsd,pData, BlockAdd, NumberOfBlocks);
//return Return_Status;
//}

//HAL_StatusTypeDef SDIO_WriteBlocks_DMA(SD_HandleTypeDef *hsd, uint8_t *pData, uint32_t BlockAdd, uint32_t NumberOfBlocks)
//{

//HAL_StatusTypeDef Return_Status;
//HAL_SD_CardStateTypeDef SD_Card_Status;
//do
//{

//SD_Card_Status = HAL_SD_GetCardState(hsd);
//}while(SD_Card_Status != HAL_SD_CARD_TRANSFER );
///* SDIO DMA DeInit */
///* SDIO DeInit */
//HAL_DMA_DeInit(&hdma_sdio);
///* SDIO DMA Init */
///* SDIO Init */
//hdma_sdio.Instance = DMA2_Stream3;
//hdma_sdio.Init.Direction = DMA_MEMORY_TO_PERIPH;
//hdma_sdio.Init.PeriphInc = DMA_PINC_DISABLE;
//hdma_sdio.Init.MemInc = DMA_MINC_ENABLE;
//hdma_sdio.Init.PeriphDataAlignment = DMA_PDATAALIGN_WORD;
//hdma_sdio.Init.MemDataAlignment = DMA_MDATAALIGN_WORD;
//hdma_sdio.Init.Mode = DMA_NORMAL;
//hdma_sdio.Init.Priority = DMA_PRIORITY_LOW;
//if (HAL_DMA_Init(&hdma_sdio) != HAL_OK)
//{

//Error_Handler();
//}
//__HAL_LINKDMA(hsd,hdmatx,hdma_sdio);
//Return_Status = HAL_SD_WriteBlocks_DMA(hsd,pData, BlockAdd, NumberOfBlocks);
//return Return_Status;
//}

//5ms
//void HAL_TIM_PeriodElapsedCallback(TIM_HandleTypeDef *htim){
//
//}

int fputc(int ch, FILE *f)
{

HAL_UART_Transmit(&huart1, (uint8_t *)&ch, 1, 0xffff);
return ch;
}
/** * @brief 重定向c库函数getchar,scanf到USARTx * @retval None */
int fgetc(FILE *f)
{

uint8_t ch = 0;
HAL_UART_Receive(&huart1, &ch, 1, 0xffff);
return ch;
}

/* USER CODE END 4 */

void HAL_TIM_PeriodElapsedCallback(TIM_HandleTypeDef *htim)
{
  if (htim->Instance == TIM6) {
    HAL_IncTick();
  }
  /* USER CODE BEGIN Callback 1 */
//	else if(htim->Instance == TIM1){
//	//        static u32 cnt = 0;
//	//        if (cnt++>=200)
//	//        {
//	//            HAL_GPIO_TogglePin(LED_RED_GPIO_Port, LED_RED_Pin);
//	//            cnt = 0;
//	//        }
//					lv_tick_inc(5);
//    }
  /* USER CODE END Callback 1 */
}

void Error_Handler(void)
{
  __disable_irq();
  while (1)
  {
  }
}

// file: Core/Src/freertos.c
/* USER CODE BEGIN Header */
/**
  ******************************************************************************
  * File Name          : freertos.c
  * Description        : Code for freertos applications
  ******************************************************************************
  * @attention
  *
  * Copyright (c) 2024 STMicroelectronics.
  * All rights reserved.
  *
  * This software is licensed under terms that can be found in the LICENSE file
  * in the root directory of this software component.
  * If no LICENSE file comes with this software, it is provided AS-IS.
  *
  ******************************************************************************
  */
/* USER CODE END Header */

#include "FreeRTOS.h"
#include "task.h"
#include "main.h"
#include "cmsis_os.h"

/* USER CODE BEGIN Includes */
#include "lv_port_disp.h"
#include "lvgl.h"
#include "lv_port_indev.h"
#include "lv_port_fs.h"
 #include "mp3Player.h"
/* USER CODE END Includes */

osThreadId defaultTaskHandle;
osThreadId myTask_LEDHandle;
osThreadId myTask_lvglHandle;
osThreadId myTask_mp3Handle;
osThreadId start_taskHandle;
osSemaphoreId mutex_lvglHandle;
osSemaphoreId Semaphore_mp3Handle;
osSemaphoreId Sem_MP3StateHandle;
osSemaphoreId Sem_DispHandle;

void StartDefaultTask(void const * argument);
void StartTaskLED(void const * argument);
void StartTask_lvgl(void const * argument);
void StartTask_mp3(void const * argument);
void StartTask(void const * argument);

void MX_FREERTOS_Init(void); /* (MISRA C 2004 rule 8.1) */

/* GetIdleTaskMemory prototype (linked to static allocation support) */
void vApplicationGetIdleTaskMemory( StaticTask_t **ppxIdleTaskTCBBuffer, StackType_t **ppxIdleTaskStackBuffer, uint32_t *pulIdleTaskStackSize );

/* Hook prototypes */
void vApplicationTickHook(void);

/* USER CODE BEGIN 3 */
__weak void vApplicationTickHook( void )
{
   /* This function will be called by each tick interrupt if
   configUSE_TICK_HOOK is set to 1 in FreeRTOSConfig.h. User code can be
   added here, but the tick hook is called from an interrupt context, so
   code must not attempt to block, and only the interrupt safe FreeRTOS API
   functions can be used (those that end in FromISR()). */
	lv_tick_inc(1);
}
/* USER CODE END 3 */

/* USER CODE BEGIN GET_IDLE_TASK_MEMORY */
static StaticTask_t xIdleTaskTCBBuffer;
static StackType_t xIdleStack[configMINIMAL_STACK_SIZE];

void vApplicationGetIdleTaskMemory( StaticTask_t **ppxIdleTaskTCBBuffer, StackType_t **ppxIdleTaskStackBuffer, uint32_t *pulIdleTaskStackSize )
{
  *ppxIdleTaskTCBBuffer = &xIdleTaskTCBBuffer;
  *ppxIdleTaskStackBuffer = &xIdleStack[0];
  *pulIdleTaskStackSize = configMINIMAL_STACK_SIZE;
  /* place for user code */
}
/* USER CODE END GET_IDLE_TASK_MEMORY */

void MX_FREERTOS_Init(void) {

  /* Create the semaphores(s) */
  /* definition and creation of mutex_lvgl */
  osSemaphoreDef(mutex_lvgl);
  mutex_lvglHandle = osSemaphoreCreate(osSemaphore(mutex_lvgl), 1);

  /* definition and creation of Semaphore_mp3 */
  osSemaphoreDef(Semaphore_mp3);
  Semaphore_mp3Handle = osSemaphoreCreate(osSemaphore(Semaphore_mp3), 1);

  /* definition and creation of Sem_MP3State */
  osSemaphoreDef(Sem_MP3State);
  Sem_MP3StateHandle = osSemaphoreCreate(osSemaphore(Sem_MP3State), 1);

  /* definition and creation of Sem_Disp */
  osSemaphoreDef(Sem_Disp);
  Sem_DispHandle = osSemaphoreCreate(osSemaphore(Sem_Disp), 1);

  /* Create the thread(s) */
  /* definition and creation of defaultTask */
  osThreadDef(defaultTask, StartDefaultTask, osPriorityNormal, 0, 128);
  defaultTaskHandle = osThreadCreate(osThread(defaultTask), NULL);

  /* definition and creation of myTask_LED */
  osThreadDef(myTask_LED, StartTaskLED, osPriorityIdle, 0, 128);
  myTask_LEDHandle = osThreadCreate(osThread(myTask_LED), NULL);

  /* definition and creation of myTask_lvgl */
  osThreadDef(myTask_lvgl, StartTask_lvgl, osPriorityIdle, 0, 2048);
  myTask_lvglHandle = osThreadCreate(osThread(myTask_lvgl), NULL);

  /* definition and creation of myTask_mp3 */
  osThreadDef(myTask_mp3, StartTask_mp3, osPriorityIdle, 0, 512);
  myTask_mp3Handle = osThreadCreate(osThread(myTask_mp3), NULL);

  /* definition and creation of start_task */
  osThreadDef(start_task, StartTask, osPriorityIdle, 0, 512);
  start_taskHandle = osThreadCreate(osThread(start_task), NULL);

  /* USER CODE BEGIN RTOS_THREADS */
  /* add threads, ... */
  osThreadSuspend(myTask_mp3Handle);
  osThreadSuspend(myTask_lvglHandle);
  /* USER CODE END RTOS_THREADS */

}

void StartDefaultTask(void const * argument)
{
  /* USER CODE BEGIN StartDefaultTask */
  /* Infinite loop */
  for(;;)
  {
    vTaskDelay(1);
		//lv_tick_inc(1);
  }
  /* USER CODE END StartDefaultTask */
}

void StartTaskLED(void const * argument)
{
  /* USER CODE BEGIN StartTaskLED */
  /* Infinite loop */
  for(;;)
  {
    vTaskDelay(100);
		HAL_GPIO_TogglePin(LED_ON_Board_GPIO_Port,LED_ON_Board_Pin);

  }
  /* USER CODE END StartTaskLED */
}

void StartTask_lvgl(void const * argument)
{
  /* USER CODE BEGIN StartTask_lvgl */
  /* Infinite loop */
  for(;;)
  {
    osDelay(1);
    if(pdTRUE == xSemaphoreTake(mutex_lvglHandle,portMAX_DELAY))
    {
            lv_timer_handler();
            xSemaphoreGive(mutex_lvglHandle);
    }
  }
  /* USER CODE END StartTask_lvgl */
}

void StartTask_mp3(void const * argument)
{
  /* USER CODE BEGIN StartTask_mp3 */
  MP3_decoder_Init();
//   MP3_decode_file("0:/song_List/Coldplay_Yellow.mp3");
  /* Infinite loop */
  for(;;)
  {
    osDelay(1);
	MP3_Playing();
  }
  /* USER CODE END StartTask_mp3 */
}

/* USER CODE BEGIN Header_StartTask */
/**
* @brief Function implementing the start_task thread.
* @param argument: Not used
* @retval None
*/
void SD_test(void);
void fs_test(void);
u8 scan_files(u8 * path);
#include "fatfs.h"
#include <stdio.h>
void test_fs_read(void) {
    lv_fs_file_t f;
		lv_fs_res_t res;
	res = lv_fs_open(&f, "A:/State.txt", LV_FS_MODE_RD);
	if(res != LV_FS_RES_OK) printf("open err :%d\r\n",res);

		uint32_t read_num;
		u16 buf[20];
		res = lv_fs_read(&f, buf, 40, &read_num);
		if(res != LV_FS_RES_OK || read_num != 40)  printf("read err");
		for (int i=0;i<20;i++){
			printf("%d ",buf[i]);
		}
		lv_fs_close(&f);
}

void test_print_directory_files(const char *path) {
    lv_fs_dir_t dir;
    lv_fs_res_t res = lv_fs_dir_open(&dir, path);
    if (res != LV_FS_RES_OK) {
        printf("Failed to open directory\n");
        return;
    }
    while (true) {
        char fn[256];
        lv_fs_res_t res = lv_fs_dir_read(&dir, fn,256);
        if (res != LV_FS_RES_OK||fn[0] == 0) {
            break;
        }
        printf("%s\r\n", fn);
    }

    lv_fs_dir_close(&dir);
}

void my_piano(void);
void lv_music_UI(void);
#include "lcd.h"
#include "lvgl_app.h"
extern DMA_HandleTypeDef hdma_dac1;
/* USER CODE END Header_StartTask */
void StartTask(void const * argument)
{
  /* USER CODE BEGIN StartTask */
    SD_test();
    if(pdTRUE == xSemaphoreTake(mutex_lvglHandle,portMAX_DELAY))
    {
        lv_port_fs_init();
        // lv_music_UI();
        lvgl_app_init();
        xSemaphoreGive(mutex_lvglHandle);
    }
    //test_print_directory_files("A:/");
	//fs_test();
	// scan_files("0:");
  vTaskDelay(2000);
	// mp3PlayerDemo("0:/���Ų�ѩ.MP3");
	//mp3PlayerDemo("0:/zhangguorong.mp3");
	// mp3PlayerDemo("0:/piano_sound/piano_middle_C.mp3");
    osThreadResume(myTask_lvglHandle);
    osThreadResume(myTask_mp3Handle);
	vTaskDelete(start_taskHandle);
  /* USER CODE END StartTask */
}
